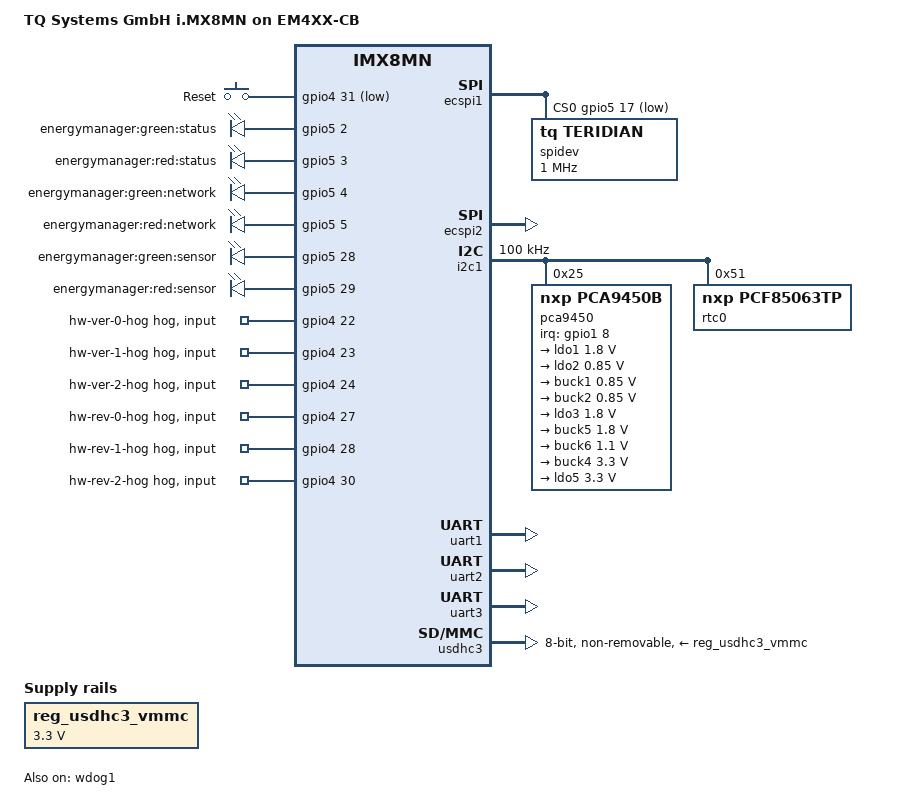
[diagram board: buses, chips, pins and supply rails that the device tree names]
// SPDX-License-Identifier: GPL-2.0-or-later
/*
 * Copyright (c) 2023 - 2024 TQ-Systems GmbH <linux@ew.tq-group.com>,
 * D-82229 Seefeld, Germany.
 * Author: Michael Krummsdorf
 */

#include "imx8mn.dtsi"

/ {
	model = "TQ Systems GmbH i.MX8MN on EM4XX-CB";
	compatible = "tq,em4xx", "fsl,imx8mn";

	aliases {
		mmc0 = &usdhc3;
		/delete-property/ mmc1;
		/delete-property/ mmc2;

		serial1 = &uart3;
		serial2 = &uart2;
	};

	chosen {
		stdout-path = &uart1;
	};

	buttons {
		compatible = "gpio-keys";
		pinctrl-names = "default";
		pinctrl-0 = <&pinctrl_buttons>;

		reset-button {
			label = "Reset";
			gpios = <&gpio4 31 GPIO_ACTIVE_LOW>;
			linux,code = <KEY_RESTART>;
		};
	};

	leds {
		compatible = "gpio-leds";
		pinctrl-names = "default";
		pinctrl-0 = <&pinctrl_leds>;

		led1-gn {
			label = "energymanager:green:status";
			gpios = <&gpio5 2 GPIO_ACTIVE_HIGH>;
			linux,default-trigger = "timer";
		};

		led1-rd {
			label = "energymanager:red:status";
			gpios = <&gpio5 3 GPIO_ACTIVE_HIGH>;
		};

		led2-gn {
			label = "energymanager:green:network";
			gpios = <&gpio5 4 GPIO_ACTIVE_HIGH>;
		};

		led2-rd {
			label = "energymanager:red:network";
			gpios = <&gpio5 5 GPIO_ACTIVE_HIGH>;
		};

		led3-gn {
			label = "energymanager:green:sensor";
			gpios = <&gpio5 28 GPIO_ACTIVE_HIGH>;
		};

		led3-rd {
			label = "energymanager:red:sensor";
			gpios = <&gpio5 29 GPIO_ACTIVE_HIGH>;
		};
	};

	reg_usdhc3_vmmc: regulator-vmmc {
		compatible = "regulator-fixed";
		regulator-name = "VSD_3V3";
		regulator-min-microvolt = <3300000>;
		regulator-max-microvolt = <3300000>;
	};
};

&a53_opp_table {
	opp-1400000000 {
		status = "disabled";
	};

	opp-1500000000 {
		status = "disabled";
	};
};

&cpu_crit0 {
	temperature = <105000>;
};

&ecspi1 {
	pinctrl-names = "default";
	pinctrl-0 = <&pinctrl_ecspi1>;
	cs-gpios = <&gpio5 17 GPIO_ACTIVE_LOW>;
	status = "okay";

	spidev@0 {
		compatible = "tq,teridian";
		reg = <0>;
		spi-max-frequency = <1000000>;
	};
};

&ecspi2 {
	pinctrl-names = "default";
	pinctrl-0 = <&pinctrl_ecspi2>;
	status = "okay";
};

&gpio1 {
	pinctrl-names = "default";
	pinctrl-0 = <&pinctrl_gpio1>;
	gpio-line-names =
		"", "", "", "",
		"", "", "", "",
		"", "", "", "",
		"energymanager:vbus:enable", "energymanager:vbus:fault#", "", "",
		"", "", "", "",
		"", "", "", "",
		"", "", "", "",
		"", "", "", "";
};

&gpio4 {
	pinctrl-names = "default";
	pinctrl-0 = <&pinctrl_gpio4>;
	gpio-line-names =
		"", "", "", "",
		"", "", "", "",
		"", "", "", "",
		"", "", "", "",
		"", "", "", "",
		"", "energymanager:mb:enable#", "", "",
		"", "", "", "",
		"", "", "", "";

	hw-ver-0-hog {
		gpio-hog;
		gpios = <22 GPIO_ACTIVE_HIGH>;
		input;
	};

	hw-ver-1-hog {
		gpio-hog;
		gpios = <23 GPIO_ACTIVE_HIGH>;
		input;
	};

	hw-ver-2-hog {
		gpio-hog;
		gpios = <24 GPIO_ACTIVE_HIGH>;
		input;
	};

	hw-rev-0-hog {
		gpio-hog;
		gpios = <27 GPIO_ACTIVE_HIGH>;
		input;
	};

	hw-rev-1-hog {
		gpio-hog;
		gpios = <28 GPIO_ACTIVE_HIGH>;
		input;
	};

	hw-rev-2-hog {
		gpio-hog;
		gpios = <30 GPIO_ACTIVE_HIGH>;
		input;
	};
};

&i2c1 {
	/* Keep this at 100kHz - our hardware can't use I2C fast mode
	 * without violating timing constraints
	 * see: ERR007805
	 */
	clock-frequency = <100000>;
	pinctrl-names = "default";
	pinctrl-0 = <&pinctrl_i2c1>;
	status = "okay";

	pca9450: pmic@25 {
		compatible = "nxp,pca9450b";
		reg = <0x25>;
		pinctrl-names = "default";
		pinctrl-0 = <&pinctrl_pmic>;
		interrupt-parent = <&gpio1>;
		interrupts = <8 IRQ_TYPE_LEVEL_LOW>;
		status = "okay";

		regulators {
			ldo1: LDO1 {
				regulator-name = "LDO1";
				regulator-min-microvolt = <1800000>;
				regulator-max-microvolt = <1800000>;
				regulator-boot-on;
				regulator-always-on;
			};

			ldo2: LDO2 {
				regulator-name = "LDO2";
				regulator-min-microvolt = <850000>;
				regulator-max-microvolt = <850000>;
				regulator-boot-on;
				regulator-always-on;
			};

			buck1: BUCK1 {
				regulator-name = "BUCK1";
				regulator-min-microvolt = <850000>;
				regulator-max-microvolt = <850000>;
				regulator-boot-on;
				regulator-always-on;
			};

			buck2: BUCK2 {
				regulator-name = "BUCK2";
				regulator-min-microvolt = <850000>;
				regulator-max-microvolt = <850000>;
				regulator-boot-on;
				regulator-always-on;
			};

			ldo3: LDO3 {
				regulator-name = "LDO3";
				regulator-min-microvolt = <1800000>;
				regulator-max-microvolt = <1800000>;
				regulator-boot-on;
				regulator-always-on;
			};

			buck5: BUCK5 {
				regulator-name = "BUCK5";
				regulator-min-microvolt = <1800000>;
				regulator-max-microvolt = <1800000>;
				regulator-boot-on;
				regulator-always-on;
			};

			buck6: BUCK6 {
				regulator-name = "BUCK6";
				regulator-min-microvolt = <1100000>;
				regulator-max-microvolt = <1100000>;
				regulator-boot-on;
				regulator-always-on;
			};

			buck4: BUCK4 {
				regulator-name = "BUCK4";
				regulator-min-microvolt = <3300000>;
				regulator-max-microvolt = <3300000>;
				regulator-boot-on;
				regulator-always-on;
			};

			ldo5: LDO5 {
				regulator-name = "LDO3";
				regulator-min-microvolt = <3300000>;
				regulator-max-microvolt = <3300000>;
				regulator-boot-on;
				regulator-always-on;
			};

			/* BULK3 & LDO4 off by default, LDO5 not used */
		};
	};

	rtc0: rtc@51 {
		compatible = "nxp,pcf85063tp";
		reg = <0x51>;
		quartz-load-femtofarads = <12500>;
	};
};

/*
 * Pad Control Register
 *
 * | 0  | 0    | 0   | 0   | 0x   | 00x |
 * | PE | HYS  | PUE | ODE | FSEL | DSE |
 *
 * PE: Pull Resistors Enable
 * HYS: Hysteresis Enable
 *
 * PUE:
 * 0 — Select pull-down resistors
 * 1 — Select pull-up resistors
 *
 * ODE: Open Drain Enable
 *
 * FSEL:
 * 0x - Select slow slew rate (SR=1)
 * 1x — Select fast slew rate (SR=0)
 *
 * DSE:
 * 00x — Drive strength X1
 * 10x — Drive strength X2
 * 01x — Drive strength X4
 * 11x — Drive strength X6
 *
 * GPIO: 0x80 [HYS|slow|X1] (no pull up)
 * I2C: 0x400001C0 [SION|PE|HYS|PUE|slow|X1]
 * UART: 0x0 [slow|X1] (no pull up)
 * UDHC: 0x1D0 [PE|HYS|PUE|fast|X1]
 * UDHC100: 0x1D4 [PE|HYS|PUE|fast|x2]
 * UDHC200: 0x1D2 [PE|HYS|PUE|fast|x4]
 * ENET_MDIO: 0x0 [slow|x1] (no pull up)
 * ENET_TX: 0x0 [slow|x1] (no pull up)
 * ENET_RX: 0x90 [HYS|fast|x1] (no pull up)
 * ENET_GPIO: 0x10 [fast|x1] (no pull up)
 */
#define IMX_PAD_SION		0x40000000		/* set SION */
#define PAD_CTL_PE		(1 << 8)
#define PAD_CTL_HYS		(1 << 7)
#define PAD_CTL_PUE		PAD_CTL_PE | (1 << 6)
#define PAD_CTL_ODE		(1 << 5)
#define PAD_CTL_FSEL		(1 << 4)
#define PAD_CTL_DSE_X1		(0 << 1)
#define PAD_CTL_DSE_X2		(2 << 1)
#define PAD_CTL_DSE_X4		(1 << 1)
#define PAD_CTL_DSE_X6		(3 << 1)

#define BASE_PAD_CTRL		(PAD_CTL_HYS | PAD_CTL_DSE_X1)
#define OUTPUT_PAD_CTRL		(BASE_PAD_CTRL)
#define INPUT_PAD_CTRL		(IMX_PAD_SION | BASE_PAD_CTRL)

#define ENET_PAD_CTRL		(PAD_CTL_FSEL | BASE_PAD_CTRL)
#define ENET_RX_PAD_CTRL	(IMX_PAD_SION | PAD_CTL_FSEL | ENET_PAD_CTRL)

#define USDHC_PAD_CTRL		(PAD_CTL_PUE | PAD_CTL_FSEL | BASE_PAD_CTRL)
#define USDHC100_PAD_CTRL	(PAD_CTL_DSE_X2 | USDHC_PAD_CTRL)
#define USDHC200_PAD_CTRL	(PAD_CTL_DSE_X4 | USDHC_PAD_CTRL)

#define I2C_PAD_CTRL		(IMX_PAD_SION | PAD_CTL_PUE | BASE_PAD_CTRL)
&iomuxc {
	pinctrl_buttons: buttongrp {
		fsl,pins = <
			MX8MN_IOMUXC_SAI3_TXFS_GPIO4_IO31		INPUT_PAD_CTRL
		>;
	};

	pinctrl_ecspi1: ecspi1grp {
		fsl,pins = <
			MX8MN_IOMUXC_ECSPI1_MOSI_ECSPI1_MOSI		OUTPUT_PAD_CTRL
			MX8MN_IOMUXC_ECSPI1_MISO_ECSPI1_MISO		INPUT_PAD_CTRL
			MX8MN_IOMUXC_ECSPI1_SCLK_ECSPI1_SCLK		OUTPUT_PAD_CTRL
			MX8MN_IOMUXC_I2C2_SDA_GPIO5_IO17		OUTPUT_PAD_CTRL
		>;
	};

	pinctrl_ecspi2: ecspi2grp {
		fsl,pins = <
			MX8MN_IOMUXC_ECSPI2_MOSI_ECSPI2_MOSI		OUTPUT_PAD_CTRL
			MX8MN_IOMUXC_ECSPI2_MISO_ECSPI2_MISO		INPUT_PAD_CTRL
			MX8MN_IOMUXC_ECSPI2_SCLK_ECSPI2_SCLK		OUTPUT_PAD_CTRL
			MX8MN_IOMUXC_ECSPI2_SS0_ECSPI2_SS0		OUTPUT_PAD_CTRL
		>;
	};

	pinctrl_enet_irq: ethernetirqgrp {
		fsl,pins = <
			MX8MN_IOMUXC_ENET_RD3_GPIO1_IO29		ENET_RX_PAD_CTRL
		>;
	};

	pinctrl_enet_reset: ethernetresetgrp {
		fsl,pins = <
			MX8MN_IOMUXC_ENET_RD2_GPIO1_IO28		ENET_PAD_CTRL
		>;
	};

	pinctrl_fec1: fec1grp {
		fsl,pins = <
			MX8MN_IOMUXC_ENET_TD2_CCMSRCGPCMIX_ENET_REF_CLK_ROOT	ENET_RX_PAD_CTRL
			MX8MN_IOMUXC_ENET_TD1_ENET1_RGMII_TD1		ENET_PAD_CTRL
			MX8MN_IOMUXC_ENET_TD0_ENET1_RGMII_TD0		ENET_PAD_CTRL
			MX8MN_IOMUXC_ENET_RD1_ENET1_RGMII_RD1		ENET_RX_PAD_CTRL
			MX8MN_IOMUXC_ENET_RD0_ENET1_RGMII_RD0		ENET_RX_PAD_CTRL
			MX8MN_IOMUXC_ENET_RX_CTL_ENET1_RGMII_RX_CTL	ENET_RX_PAD_CTRL
			MX8MN_IOMUXC_ENET_TX_CTL_ENET1_RGMII_TX_CTL	ENET_PAD_CTRL
		>;
	};

	pinctrl_fec1mdio: fec1mdiogrp {
		fsl,pins = <
			MX8MN_IOMUXC_ENET_MDC_ENET1_MDC			OUTPUT_PAD_CTRL
			MX8MN_IOMUXC_ENET_MDIO_ENET1_MDIO		INPUT_PAD_CTRL
		>;
	};

	pinctrl_gpio1: gpio1grp {
		fsl,pins = <
			/* USB_EN */
			MX8MN_IOMUXC_GPIO1_IO12_GPIO1_IO12		OUTPUT_PAD_CTRL
			/* USB_FAULT# */
			MX8MN_IOMUXC_GPIO1_IO13_GPIO1_IO13		INPUT_PAD_CTRL
		>;
	};

	pinctrl_gpio4: gpio4grp {
		fsl,pins = <
			/* MB_PWR_EN# */
			MX8MN_IOMUXC_SAI2_RXFS_GPIO4_IO21		INPUT_PAD_CTRL
			/* HW.VER0 */
			MX8MN_IOMUXC_SAI2_RXC_GPIO4_IO22		INPUT_PAD_CTRL
			/* HW.VER1 */
			MX8MN_IOMUXC_SAI2_RXD0_GPIO4_IO23		INPUT_PAD_CTRL
			/* HW.VER2 */
			MX8MN_IOMUXC_SAI2_TXFS_GPIO4_IO24		INPUT_PAD_CTRL
			/* HW.VER3 */
			MX8MN_IOMUXC_SAI2_TXC_GPIO4_IO25		INPUT_PAD_CTRL
			/* HW.REV0 */
			MX8MN_IOMUXC_SAI2_MCLK_GPIO4_IO27		INPUT_PAD_CTRL
			/* HW.REV1 */
			MX8MN_IOMUXC_SAI3_RXFS_GPIO4_IO28		INPUT_PAD_CTRL
			/* HW.REV2 */
			MX8MN_IOMUXC_SAI3_RXD_GPIO4_IO30		INPUT_PAD_CTRL
		>;
	};

	pinctrl_i2c1: i2c1grp {
		fsl,pins = <
			MX8MN_IOMUXC_I2C1_SCL_I2C1_SCL			I2C_PAD_CTRL
			MX8MN_IOMUXC_I2C1_SDA_I2C1_SDA			I2C_PAD_CTRL
		>;
	};

	pinctrl_leds: ledgrp {
		fsl,pins = <
			MX8MN_IOMUXC_SAI3_MCLK_GPIO5_IO2		OUTPUT_PAD_CTRL
			MX8MN_IOMUXC_SPDIF_TX_GPIO5_IO3			OUTPUT_PAD_CTRL
			MX8MN_IOMUXC_SPDIF_RX_GPIO5_IO4			OUTPUT_PAD_CTRL
			MX8MN_IOMUXC_SPDIF_EXT_CLK_GPIO5_IO5		OUTPUT_PAD_CTRL
			MX8MN_IOMUXC_UART4_RXD_GPIO5_IO28		OUTPUT_PAD_CTRL
			MX8MN_IOMUXC_UART4_TXD_GPIO5_IO29		OUTPUT_PAD_CTRL
		>;
	};

	pinctrl_pmic: pmicirqgrp {
		fsl,pins = <
			MX8MN_IOMUXC_GPIO1_IO08_GPIO1_IO8		INPUT_PAD_CTRL
		>;
	};

	pinctrl_uart1: uart1grp {
		fsl,pins = <
			MX8MN_IOMUXC_UART1_RXD_UART1_DCE_RX		INPUT_PAD_CTRL
			MX8MN_IOMUXC_UART1_TXD_UART1_DCE_TX		OUTPUT_PAD_CTRL
		>;
	};

	pinctrl_uart2: uart2grp {
		fsl,pins = <
			MX8MN_IOMUXC_UART2_RXD_UART2_DCE_RX		INPUT_PAD_CTRL
			MX8MN_IOMUXC_UART2_TXD_UART2_DCE_TX		OUTPUT_PAD_CTRL
			MX8MN_IOMUXC_SAI3_RXC_UART2_DCE_CTS_B		OUTPUT_PAD_CTRL
		>;
	};

	pinctrl_uart3: uart3grp {
		fsl,pins = <
			MX8MN_IOMUXC_UART3_RXD_UART3_DCE_RX		INPUT_PAD_CTRL
			MX8MN_IOMUXC_UART3_TXD_UART3_DCE_TX		OUTPUT_PAD_CTRL
			MX8MN_IOMUXC_SD1_STROBE_UART3_DCE_CTS_B		OUTPUT_PAD_CTRL
		>;
	};

	pinctrl_usdhc3: usdhc3grp {
		fsl,pins = <
			MX8MN_IOMUXC_NAND_WE_B_USDHC3_CLK		USDHC_PAD_CTRL
			MX8MN_IOMUXC_NAND_WP_B_USDHC3_CMD		USDHC_PAD_CTRL
			MX8MN_IOMUXC_NAND_DATA04_USDHC3_DATA0		USDHC_PAD_CTRL
			MX8MN_IOMUXC_NAND_DATA05_USDHC3_DATA1		USDHC_PAD_CTRL
			MX8MN_IOMUXC_NAND_DATA06_USDHC3_DATA2		USDHC_PAD_CTRL
			MX8MN_IOMUXC_NAND_DATA07_USDHC3_DATA3		USDHC_PAD_CTRL
			MX8MN_IOMUXC_NAND_RE_B_USDHC3_DATA4		USDHC_PAD_CTRL
			MX8MN_IOMUXC_NAND_CE2_B_USDHC3_DATA5		USDHC_PAD_CTRL
			MX8MN_IOMUXC_NAND_CE3_B_USDHC3_DATA6		USDHC_PAD_CTRL
			MX8MN_IOMUXC_NAND_CLE_USDHC3_DATA7		USDHC_PAD_CTRL
			MX8MN_IOMUXC_NAND_CE1_B_USDHC3_STROBE 		USDHC_PAD_CTRL
			MX8MN_IOMUXC_NAND_READY_B_USDHC3_RESET_B	OUTPUT_PAD_CTRL
		>;
	};

	pinctrl_usdhc3_100mhz: usdhc3100mhzgrp {
		fsl,pins = <
			MX8MN_IOMUXC_NAND_WE_B_USDHC3_CLK		USDHC100_PAD_CTRL
			MX8MN_IOMUXC_NAND_WP_B_USDHC3_CMD		USDHC100_PAD_CTRL
			MX8MN_IOMUXC_NAND_DATA04_USDHC3_DATA0		USDHC100_PAD_CTRL
			MX8MN_IOMUXC_NAND_DATA05_USDHC3_DATA1		USDHC100_PAD_CTRL
			MX8MN_IOMUXC_NAND_DATA06_USDHC3_DATA2		USDHC100_PAD_CTRL
			MX8MN_IOMUXC_NAND_DATA07_USDHC3_DATA3		USDHC100_PAD_CTRL
			MX8MN_IOMUXC_NAND_RE_B_USDHC3_DATA4		USDHC100_PAD_CTRL
			MX8MN_IOMUXC_NAND_CE2_B_USDHC3_DATA5		USDHC100_PAD_CTRL
			MX8MN_IOMUXC_NAND_CE3_B_USDHC3_DATA6		USDHC100_PAD_CTRL
			MX8MN_IOMUXC_NAND_CLE_USDHC3_DATA7		USDHC100_PAD_CTRL
			MX8MN_IOMUXC_NAND_CE1_B_USDHC3_STROBE 		USDHC100_PAD_CTRL
			MX8MN_IOMUXC_NAND_READY_B_USDHC3_RESET_B	OUTPUT_PAD_CTRL
		>;
	};

	pinctrl_usdhc3_200mhz: usdhc3200mhzgrp {
		fsl,pins = <
			MX8MN_IOMUXC_NAND_WE_B_USDHC3_CLK		USDHC200_PAD_CTRL
			MX8MN_IOMUXC_NAND_WP_B_USDHC3_CMD		USDHC200_PAD_CTRL
			MX8MN_IOMUXC_NAND_DATA04_USDHC3_DATA0		USDHC200_PAD_CTRL
			MX8MN_IOMUXC_NAND_DATA05_USDHC3_DATA1		USDHC200_PAD_CTRL
			MX8MN_IOMUXC_NAND_DATA06_USDHC3_DATA2		USDHC200_PAD_CTRL
			MX8MN_IOMUXC_NAND_DATA07_USDHC3_DATA3		USDHC200_PAD_CTRL
			MX8MN_IOMUXC_NAND_RE_B_USDHC3_DATA4		USDHC200_PAD_CTRL
			MX8MN_IOMUXC_NAND_CE2_B_USDHC3_DATA5		USDHC200_PAD_CTRL
			MX8MN_IOMUXC_NAND_CE3_B_USDHC3_DATA6		USDHC200_PAD_CTRL
			MX8MN_IOMUXC_NAND_CLE_USDHC3_DATA7		USDHC200_PAD_CTRL
			MX8MN_IOMUXC_NAND_CE1_B_USDHC3_STROBE 		USDHC200_PAD_CTRL
			MX8MN_IOMUXC_NAND_READY_B_USDHC3_RESET_B	OUTPUT_PAD_CTRL
		>;
	};

	pinctrl_wdog: wdoggrp {
		fsl,pins = <
			MX8MN_IOMUXC_GPIO1_IO02_WDOG1_WDOG_B		OUTPUT_PAD_CTRL
		>;
	};
};

/* console */
&uart1 {
	pinctrl-names = "default";
	pinctrl-0 = <&pinctrl_uart1>;
	status = "okay";
};

/* RS485-1 (B) */
&uart2 {
	pinctrl-names = "default";
	pinctrl-0 = <&pinctrl_uart2>;
	/* Do not enable DMA mode due to large delay */
	/delete-property/ dmas;
	/delete-property/ dma-names;
	rs485-rx-during-tx;
	uart-has-rtscts;
	linux,rs485-enabled-at-boot-time;
	status = "okay";
};

/* RS485-2 (A) */
&uart3 {
	pinctrl-names = "default";
	pinctrl-0 = <&pinctrl_uart3>;
	/* Do not enable DMA mode due to large delay */
	/delete-property/ dmas;
	/delete-property/ dma-names;
	rs485-rx-during-tx;
	uart-has-rtscts;
	linux,rs485-enabled-at-boot-time;
	status = "okay";
};

&usdhc3 {
	pinctrl-names = "default", "state_100mhz", "state_200mhz";
	pinctrl-0 = <&pinctrl_usdhc3>;
	pinctrl-1 = <&pinctrl_usdhc3_100mhz>;
	pinctrl-2 = <&pinctrl_usdhc3_200mhz>;
	assigned-clocks = <&clk IMX8MN_CLK_USDHC3_ROOT>;
	assigned-clock-rates = <400000000>;
	bus-width = <8>;
	disable-wp;
	non-removable;
	no-sd;
	no-sdio;
	vmmc-supply = <&reg_usdhc3_vmmc>;
	status = "okay";
};

&wdog1 {
	pinctrl-names = "default";
	pinctrl-0 = <&pinctrl_wdog>;
	fsl,ext-reset-output;
	status = "okay";
};
